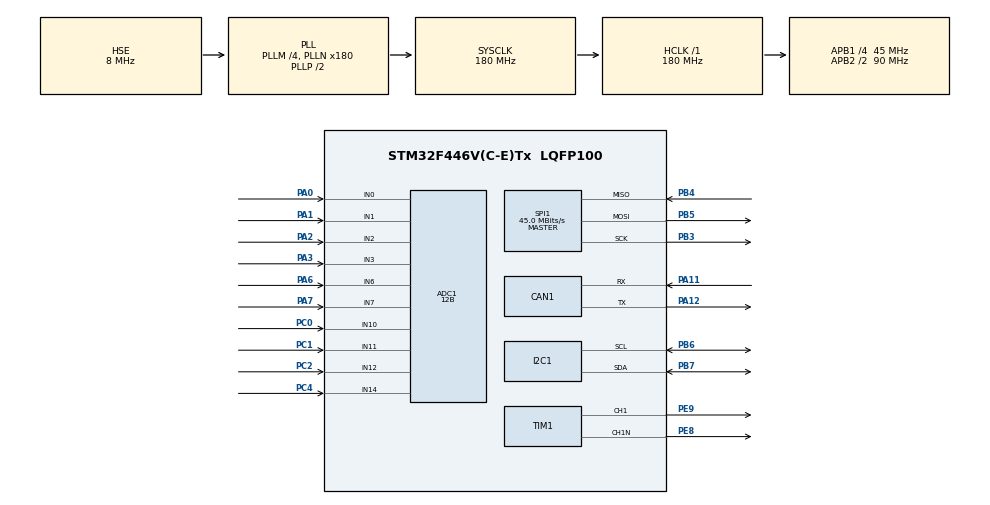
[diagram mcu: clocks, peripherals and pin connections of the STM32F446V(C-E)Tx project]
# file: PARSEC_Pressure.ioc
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ADC1.Channel-0\#ChannelRegularConversion=ADC_CHANNEL_7
ADC1.ClockPrescaler=ADC_CLOCK_SYNC_PCLK_DIV4
ADC1.ContinuousConvMode=DISABLE
ADC1.DMAContinuousRequests=DISABLE
ADC1.DataAlign=ADC_DATAALIGN_RIGHT
ADC1.DiscontinuousConvMode=ENABLE
ADC1.EOCSelection=ADC_EOC_SINGLE_CONV
ADC1.EnableAnalogWatchDog=false
ADC1.ExternalTrigConv=ADC_SOFTWARE_START
ADC1.ExternalTrigConvEdge=ADC_EXTERNALTRIGCONVEDGE_NONE
ADC1.InjNumberOfConversion=0
ADC1.NbrOfConversion=1
ADC1.NbrOfConversionFlag=1
ADC1.NbrOfDiscConversion=1
ADC1.Rank-0\#ChannelRegularConversion=1
ADC1.Resolution=ADC_RESOLUTION_12B
ADC1.SamplingTime-0\#ChannelRegularConversion=ADC_SAMPLETIME_3CYCLES
ADC1.ScanConvMode=ENABLE
ADC1.master=1
CAN1.CalculateTimeBit=1066
CAN1.CalculateTimeQuantum=355.55555555555554
Mcu.Family=STM32F4
Mcu.Name=STM32F446V(C-E)Tx
Mcu.Package=LQFP100
NVIC.PriorityGroup=NVIC_PRIORITYGROUP_4
PA0-WKUP.Signal=ADCx_IN0
PA1.Signal=ADCx_IN1
PA11.Mode=Master
PA11.Signal=CAN1_RX
PA12.Mode=Master
PA12.Signal=CAN1_TX
PA13.Mode=Serial_Wire
PA13.Signal=SYS_JTMS-SWDIO
PA14.Mode=Serial_Wire
PA14.Signal=SYS_JTCK-SWCLK
PA2.Signal=ADCx_IN2
PA3.Signal=ADCx_IN3
PA6.Signal=ADCx_IN6
PA7.Signal=ADCx_IN7
PB3.Mode=Full_Duplex_Master
PB3.Signal=SPI1_SCK
PB4.Mode=Full_Duplex_Master
PB4.Signal=SPI1_MISO
PB5.Mode=Full_Duplex_Master
PB5.Signal=SPI1_MOSI
PB6.Mode=I2C
PB6.Signal=I2C1_SCL
PB7.Mode=I2C
PB7.Signal=I2C1_SDA
PC0.Signal=ADCx_IN10
PC1.Signal=ADCx_IN11
PC2.Signal=ADCx_IN12
PC4.Signal=ADCx_IN14
PE8.Mode=Output Compare1 CH1 CH1N
PE8.Signal=TIM1_CH1N
PE9.Signal=S_TIM1_CH1
PH0-OSC_IN.Mode=HSE-External-Oscillator
PH0-OSC_IN.Signal=RCC_OSC_IN
PH1-OSC_OUT.Mode=HSE-External-Oscillator
PH1-OSC_OUT.Signal=RCC_OSC_OUT
ProjectManager.HeapSize=0x200
ProjectManager.StackSize=0x400
ProjectManager.TargetToolchain=TrueSTUDIO
RCC.AHBFreq_Value=180000000
RCC.APB1CLKDivider=RCC_HCLK_DIV4
RCC.APB1Freq_Value=45000000
RCC.APB1TimFreq_Value=90000000
RCC.APB2CLKDivider=RCC_HCLK_DIV2
RCC.APB2Freq_Value=90000000
RCC.APB2TimFreq_Value=180000000
RCC.CortexFreq_Value=180000000
RCC.HCLKFreq_Value=180000000
RCC.HSE_VALUE=8000000
RCC.PLLM=4
RCC.PLLN=180
RCC.PLLSourceVirtual=RCC_PLLSOURCE_HSE
RCC.SYSCLKFreq_VALUE=180000000
RCC.SYSCLKSource=RCC_SYSCLKSOURCE_PLLCLK
RCC.USBFreq_Value=180000000
RCC.VCOOutputFreq_Value=360000000
SH.ADCx_IN0.0=ADC1_IN0,IN0
SH.ADCx_IN1.0=ADC1_IN1,IN1
SH.ADCx_IN10.0=ADC1_IN10,IN10
SH.ADCx_IN11.0=ADC1_IN11,IN11
SH.ADCx_IN12.0=ADC1_IN12,IN12
SH.ADCx_IN14.0=ADC1_IN14,IN14
SH.ADCx_IN2.0=ADC1_IN2,IN2
SH.ADCx_IN3.0=ADC1_IN3,IN3
SH.ADCx_IN6.0=ADC1_IN6,IN6
SH.ADCx_IN7.0=ADC1_IN7,IN7
SH.S_TIM1_CH1.0=TIM1_CH1,Output Compare1 CH1 CH1N
SPI1.CalculateBaudRate=45.0 MBits/s
SPI1.Direction=SPI_DIRECTION_2LINES
SPI1.Mode=SPI_MODE_MASTER
SPI1.VirtualType=VM_MASTER
TIM1.Channel-Output\ Compare1\ CH1\ CH1N=TIM_CHANNEL_1
board=PARSEC_Pressure

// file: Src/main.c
/**
  ******************************************************************************
  * File Name          : main.c
  * Description        : Main program body
  ******************************************************************************
  ** This notice applies to any and all portions of this file
  * that are not between comment pairs USER CODE BEGIN and
  * USER CODE END. Other portions of this file, whether
  * inserted by the user or by software development tools
  * are owned by their respective copyright owners.
  *
  * COPYRIGHT(c) 2018 STMicroelectronics
  *
  * Redistribution and use in source and binary forms, with or without modification,
  * are permitted provided that the following conditions are met:
  *   1. Redistributions of source code must retain the above copyright notice,
  *      this list of conditions and the following disclaimer.
  *   2. Redistributions in binary form must reproduce the above copyright notice,
  *      this list of conditions and the following disclaimer in the documentation
  *      and/or other materials provided with the distribution.
  *   3. Neither the name of STMicroelectronics nor the names of its contributors
  *      may be used to endorse or promote products derived from this software
  *      without specific prior written permission.
  *
  * THIS SOFTWARE IS PROVIDED BY THE COPYRIGHT HOLDERS AND CONTRIBUTORS "AS IS"
  * AND ANY EXPRESS OR IMPLIED WARRANTIES, INCLUDING, BUT NOT LIMITED TO, THE
  * IMPLIED WARRANTIES OF MERCHANTABILITY AND FITNESS FOR A PARTICULAR PURPOSE ARE
  * DISCLAIMED. IN NO EVENT SHALL THE COPYRIGHT HOLDER OR CONTRIBUTORS BE LIABLE
  * FOR ANY DIRECT, INDIRECT, INCIDENTAL, SPECIAL, EXEMPLARY, OR CONSEQUENTIAL
  * DAMAGES (INCLUDING, BUT NOT LIMITED TO, PROCUREMENT OF SUBSTITUTE GOODS OR
  * SERVICES; LOSS OF USE, DATA, OR PROFITS; OR BUSINESS INTERRUPTION) HOWEVER
  * CAUSED AND ON ANY THEORY OF LIABILITY, WHETHER IN CONTRACT, STRICT LIABILITY,
  * OR TORT (INCLUDING NEGLIGENCE OR OTHERWISE) ARISING IN ANY WAY OUT OF THE USE
  * OF THIS SOFTWARE, EVEN IF ADVISED OF THE POSSIBILITY OF SUCH DAMAGE.
  *
  ******************************************************************************
  */
#include "main.h"
#include "stm32f4xx_hal.h"
#include "adc.h"
#include "can.h"
#include "i2c.h"
#include "spi.h"
#include "tim.h"
#include "gpio.h"

/* USER CODE BEGIN Includes */
#include "mycan.h"
#define BOARD_ID 1

extern ADC_HandleTypeDef hadc1;
/* USER CODE END Includes */

/* USER CODE BEGIN PV */
/* Private variables ---------------------------------------------------------*/

/* USER CODE END PV */

void SystemClock_Config(void);

/* USER CODE BEGIN PFP */
/* Private function prototypes -----------------------------------------------*/

/* USER CODE END PFP */

/* USER CODE BEGIN 0 */
int updatePressure(int sensorNum)
{
	int chanList[] = {ADC_CHANNEL_0, ADC_CHANNEL_1, ADC_CHANNEL_2,
			ADC_CHANNEL_6, ADC_CHANNEL_7, ADC_CHANNEL_10, ADC_CHANNEL_11,
			ADC_CHANNEL_12, ADC_CHANNEL_14};
	ADC_ChannelConfTypeDef sConfig;
	sConfig.Channel = chanList[sensorNum - 1];
	sConfig.Rank = 1;
	sConfig.SamplingTime = ADC_SAMPLETIME_84CYCLES;
	HAL_ADC_ConfigChannel(&hadc1, &sConfig);

	HAL_ADC_Start(&hadc1);
	HAL_ADC_PollForConversion(&hadc1, HAL_MAX_DELAY);
	volatile int value = HAL_ADC_GetValue(&hadc1);
	HAL_ADC_Stop(&hadc1);

	return value;
}

void sendCANmsg(int sensorNum, int value)
{
	uint16_t msgID = create_ID(BOARD_ID, sensorNum); // e.g. Sends pressure value at reading 1.
	can_msg_t msg;

	CAN_short_msg(&msg, msgID, value);

	while (!CAN_can_transmit()) {	  };

	CAN_queue_transmit(&msg);
	HAL_Delay(10);
}

/* USER CODE END 0 */

int main(void)
{

  /* MCU Configuration----------------------------------------------------------*/

  /* Reset of all peripherals, Initializes the Flash interface and the Systick. */
  HAL_Init();

  /* Configure the system clock */
  SystemClock_Config();

  /* Initialize all configured peripherals */
  MX_GPIO_Init();
  MX_ADC1_Init();
  MX_CAN1_Init();
  MX_I2C1_Init();
  MX_SPI1_Init();
  MX_TIM1_Init();

  /* USER CODE BEGIN 2 */
  Init_MyCAN();
  /* USER CODE END 2 */

  /* Infinite loop */
  /* USER CODE BEGIN WHILE */
  while (1)
  {
	  /*HAL_ADC_Start(&hadc1);
	  HAL_ADC_PollForConversion(&hadc1, HAL_MAX_DELAY);
	  volatile int value = HAL_ADC_GetValue(&hadc1);
	  HAL_ADC_Stop(&hadc1);*/
	  volatile int value1 = updatePressure(1);
	  volatile int value2 = updatePressure(2);
	  volatile int value3 = updatePressure(3);
	  volatile int value4 = updatePressure(4);
	  volatile int value5 = updatePressure(5);
	  volatile int value6 = updatePressure(6);
	  volatile int value7 = updatePressure(7);
	  volatile int value8 = updatePressure(8);
	  volatile int value9 = updatePressure(9);

	  /*uint16_t msgID = create_ID(BOARD_ID, 1); // Sends pressure value at reading 1.
	  can_msg_t msg;

	  CAN_short_msg(&msg, msgID, value1);
	  while (!CAN_can_transmit()) {	  };
	  CAN_queue_transmit(&msg);
	  HAL_delay(10);*/

	  sendCANmsg(1, value1);
	  sendCANmsg(2, value2);
	  sendCANmsg(3, value3);
	  sendCANmsg(4, value4);
	  sendCANmsg(5, value5);
	  sendCANmsg(6, value6);
	  sendCANmsg(7, value7);
	  sendCANmsg(8, value8);
	  sendCANmsg(9, value9);

	  volatile int breakpoint = 0;
  /* USER CODE END WHILE */

  }

}

/** System Clock Configuration
*/
void SystemClock_Config(void)
{

  RCC_OscInitTypeDef RCC_OscInitStruct;
  RCC_ClkInitTypeDef RCC_ClkInitStruct;

    /**Configure the main internal regulator output voltage
    */
  __HAL_RCC_PWR_CLK_ENABLE();

  __HAL_PWR_VOLTAGESCALING_CONFIG(PWR_REGULATOR_VOLTAGE_SCALE1);

    /**Initializes the CPU, AHB and APB busses clocks
    */
  RCC_OscInitStruct.OscillatorType = RCC_OSCILLATORTYPE_HSE;
  RCC_OscInitStruct.HSEState = RCC_HSE_ON;
  RCC_OscInitStruct.PLL.PLLState = RCC_PLL_ON;
  RCC_OscInitStruct.PLL.PLLSource = RCC_PLLSOURCE_HSE;
  RCC_OscInitStruct.PLL.PLLM = 4;
  RCC_OscInitStruct.PLL.PLLN = 180;
  RCC_OscInitStruct.PLL.PLLP = RCC_PLLP_DIV2;
  RCC_OscInitStruct.PLL.PLLQ = 2;
  RCC_OscInitStruct.PLL.PLLR = 2;
  if (HAL_RCC_OscConfig(&RCC_OscInitStruct) != HAL_OK)
  {
    _Error_Handler(__FILE__, __LINE__);
  }

    /**Activate the Over-Drive mode
    */
  if (HAL_PWREx_EnableOverDrive() != HAL_OK)
  {
    _Error_Handler(__FILE__, __LINE__);
  }

    /**Initializes the CPU, AHB and APB busses clocks
    */
  RCC_ClkInitStruct.ClockType = RCC_CLOCKTYPE_HCLK|RCC_CLOCKTYPE_SYSCLK
                              |RCC_CLOCKTYPE_PCLK1|RCC_CLOCKTYPE_PCLK2;
  RCC_ClkInitStruct.SYSCLKSource = RCC_SYSCLKSOURCE_PLLCLK;
  RCC_ClkInitStruct.AHBCLKDivider = RCC_SYSCLK_DIV1;
  RCC_ClkInitStruct.APB1CLKDivider = RCC_HCLK_DIV4;
  RCC_ClkInitStruct.APB2CLKDivider = RCC_HCLK_DIV2;

  if (HAL_RCC_ClockConfig(&RCC_ClkInitStruct, FLASH_LATENCY_5) != HAL_OK)
  {
    _Error_Handler(__FILE__, __LINE__);
  }

    /**Configure the Systick interrupt time
    */
  HAL_SYSTICK_Config(HAL_RCC_GetHCLKFreq()/1000);

    /**Configure the Systick
    */
  HAL_SYSTICK_CLKSourceConfig(SYSTICK_CLKSOURCE_HCLK);

  /* SysTick_IRQn interrupt configuration */
  HAL_NVIC_SetPriority(SysTick_IRQn, 0, 0);
}

void _Error_Handler(char * file, int line)
{
  while(1)
  {
  }
}

/************************ (C) COPYRIGHT STMicroelectronics *****END OF FILE****/
